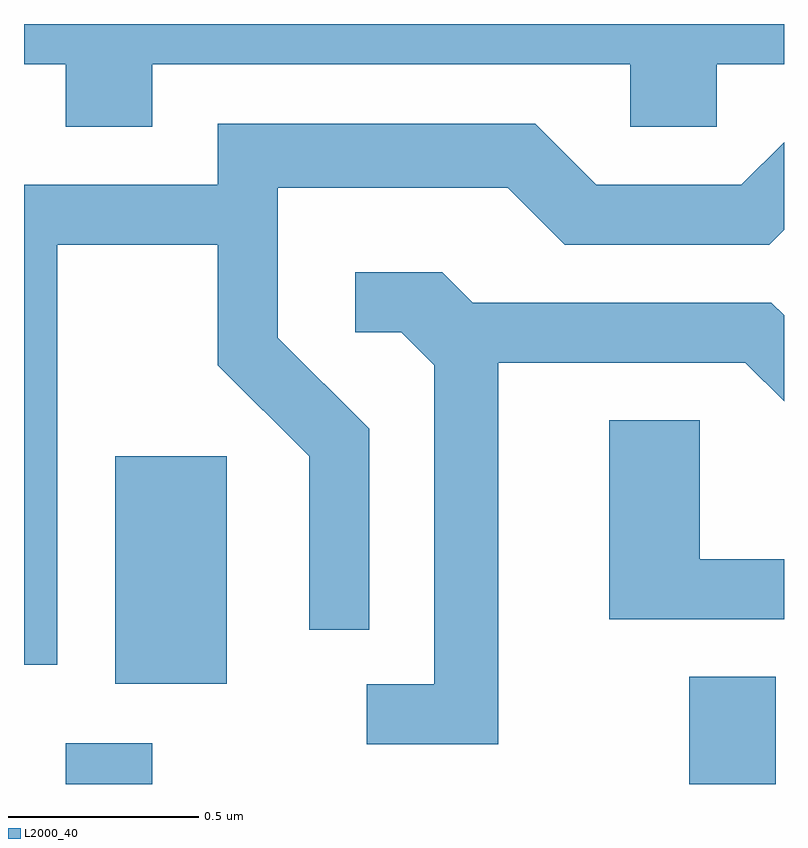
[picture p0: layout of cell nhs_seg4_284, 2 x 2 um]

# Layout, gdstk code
import gdstk
lib = gdstk.Library(unit=1e-6, precision=1e-09)
def R(c, l, rs):  # rectangles x0, y0, x1, y1
    for r in rs: c.add(gdstk.rectangle(r[:2], r[2:], *l))
def P(c, l, *ps):  # polygons
    for p in ps: c.add(gdstk.Polygon(p, *l))
L2000_40 = (2000, 40)

nhs_seg4_284 = lib.new_cell('nhs_seg4_284')
R(nhs_seg4_284, L2000_40, [(187.721,1263.982,187.949,1264.089), (189.361,1263.982,189.589,1264.264), (187.851,1264.246,188.144,1264.844)])
P(nhs_seg4_284, L2000_40, [(187.949,1265.876),(189.206,1265.876),(189.206,1265.711),(189.434,1265.711),(189.434,1265.876),(189.611,1265.876),(189.611,1265.982),(187.611,1265.982),(187.611,1265.876),(187.721,1265.876),(187.721,1265.711),(187.949,1265.711)],
  [(187.699,1265.401),(188.121,1265.401),(188.121,1265.084),(188.361,1264.844),(188.361,1264.388),(188.519,1264.388),(188.519,1264.917),(188.279,1265.157),(188.279,1265.551),(188.884,1265.551),(189.034,1265.401),(189.572,1265.401),(189.611,1265.44),(189.611,1265.671),(189.499,1265.559),(189.117,1265.559),(188.957,1265.719),(188.121,1265.719),(188.121,1265.559),(187.611,1265.559),(187.611,1264.296),(187.699,1264.296)],
  [(188.859,1265.091),(189.509,1265.091),(189.611,1264.989),(189.611,1265.215),(189.577,1265.249),(188.792,1265.249),(188.712,1265.329),(188.483,1265.329),(188.483,1265.171),(188.604,1265.171),(188.691,1265.084),(188.691,1264.244),(188.513,1264.244),(188.513,1264.086),(188.859,1264.086)],
  [(189.611,1264.574),(189.389,1264.574),(189.389,1264.939),(189.151,1264.939),(189.151,1264.416),(189.611,1264.416)])

lib.write_gds('nhs_seg4_284.gds')
